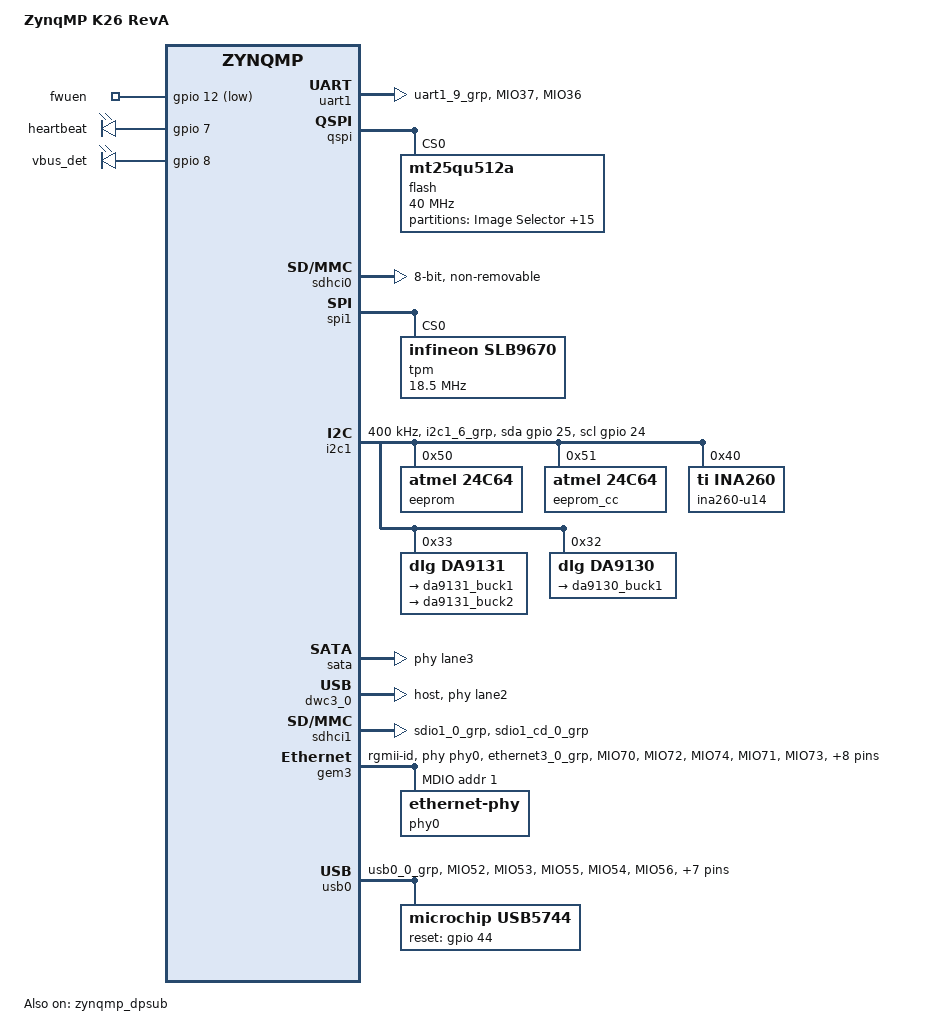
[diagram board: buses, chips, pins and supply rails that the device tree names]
// SPDX-License-Identifier: GPL-2.0
/*
 * dts file for Xilinx ZynqMP K26 revA
 *
 * (C) Copyright 2020, Xilinx, Inc.
 *
 * Michal Simek <michal.simek@xilinx.com>
 */

#include "include/dt-bindings/input/input.h"
#include "include/dt-bindings/gpio/gpio.h"
#include "include/dt-bindings/phy/phy.h"
#include "include/dt-bindings/pinctrl/pinctrl-zynqmp.h"

/ {
	model = "ZynqMP K26 RevA";
	compatible = "xlnx,zynqmp-sm-k26-revA", "xlnx,zynqmp-sm-k26", "xlnx,zynqmp";

	aliases {
		gpio0 = &gpio;
		i2c0 = &i2c0;
		i2c1 = &i2c1;
		mmc0 = &sdhci0;
		mmc1 = &sdhci1;
		rtc0 = &rtc;
		serial0 = &uart0;
		serial1 = &uart1;
		serial2 = &dcc;
		spi0 = &qspi;
		spi1 = &spi0;
		spi2 = &spi1;
		usb0 = &usb0;
		usb1 = &usb1;
		nvmem0 = &eeprom;
		nvmem1 = &eeprom_cc;
	};

	chosen {
		bootargs = "earlycon";
		stdout-path = "serial1:115200n8";
	};

	gpio-keys {
		compatible = "gpio-keys";
		autorepeat;
		fwuen {
			label = "fwuen";
			gpios = <&gpio 12 GPIO_ACTIVE_LOW>;
		};
	};

	leds {
		compatible = "gpio-leds";
		ds35 {
			label = "heartbeat";
			gpios = <&gpio 7 GPIO_ACTIVE_HIGH>;
			linux,default-trigger = "heartbeat";
		};

		ds36 {
			label = "vbus_det";
			gpios = <&gpio 8 GPIO_ACTIVE_HIGH>;
			default-state = "on";
		};
	};
};

&uart1 { /* MIO36/MIO37 */
	status = "okay";
	pinctrl-names = "default";
	pinctrl-0 = <&pinctrl_uart1_default>;
};

&qspi { /* MIO 0-5 - U143 */
	status = "okay";
	flash@0 { /* MT25QU512A */
		compatible = "mt25qu512a", "jedec,spi-nor"; /* 64MB */
		#address-cells = <1>;
		#size-cells = <1>;
		reg = <0>;
		spi-tx-bus-width = <1>;
		spi-rx-bus-width = <4>;
		spi-max-frequency = <40000000>; /* 40MHz */
		partition@0 {
			label = "Image Selector";
			reg = <0x0 0x80000>; /* 512KB */
		};
		partition@80000 {
			label = "Image Selector Golden";
			reg = <0x80000 0x80000>; /* 512KB */
			read-only;
			lock;
		};
		partition@100000 {
			label = "Persistent Register";
			reg = <0x100000 0x20000>; /* 128KB */
		};
		partition@120000 {
			label = "Persistent Register Backup";
			reg = <0x120000 0x20000>; /* 128KB */
		};
		partition@140000 {
			label = "Open_1";
			reg = <0x140000 0xC0000>; /* 768KB */
		};
		partition@200000 {
			label = "Image A (FSBL, PMU, ATF, U-Boot)";
			reg = <0x200000 0xD00000>; /* 3MB */
		};
		partition@f00000 {
			label = "ImgSel Image A Catch";
			reg = <0xF00000 0x80000>; /* 512KB */
		};
		partition@f80000 {
			label = "Image B (FSBL, PMU, ATF, U-Boot)";
			reg = <0xF80000 0xD00000>; /* 3MB */
		};
		partition@1c80000 {
			label = "ImgSel Image B Catch";
			reg = <0x1C80000 0x80000>; /* 512KB */
		};
		partition@1d00000 {
			label = "Open_2";
			reg = <0x1D00000 0x100000>; /* 1MB */
		};
		partition@1e00000 {
			label = "Recovery Image";
			reg = <0x1E00000 0x200000>; /* 2MB */
		};
		partition@2000000 {
			label = "Recovery Image Backup";
			reg = <0x2000000 0x200000>; /* 2MB */
			read-only;
			lock;
		};
		partition@2200000 {
			label = "U-Boot storage variables";
			reg = <0x2200000 0x20000>; /* 128KB */
		};
		partition@2220000 {
			label = "U-Boot storage variables backup";
			reg = <0x2220000 0x20000>; /* 128KB */
		};
		partition@2240000 {
			label = "SHA256";
			reg = <0x2240000 0x10000>; /* 256B but 64KB sector */
		};
		partition@2250000 {
			label = "User";
			reg = <0x2250000 0x1db0000>; /* 29.5 MB */

		};
	};
};

&sdhci0 { /* MIO13-23 - 16GB emmc MTFC16GAPALBH-IT - U133A*/
	status = "okay";
	non-removable;
	disable-wp;
	bus-width = <8>;
	xlnx,mio-bank = <0>;
};

&spi1 { /* MIO6, 9-11 */
	status = "okay";
	label = "TPM";
	num-cs = <1>;
	tpm@0 { /* slm9670 - U144 */
		compatible = "infineon,slb9670", "tcg,tpm_tis-spi";
		reg = <0>;
		spi-max-frequency = <18500000>;
	};
};

&i2c1 {
	status = "okay";
	clock-frequency = <400000>;
	pinctrl-names = "default", "gpio";
	pinctrl-0 = <&pinctrl_i2c1_default>;
	pinctrl-1 = <&pinctrl_i2c1_gpio>;
	scl-gpios = <&gpio 24 GPIO_ACTIVE_HIGH>;
	sda-gpios = <&gpio 25 GPIO_ACTIVE_HIGH>;

	eeprom: eeprom@50 { /* u46 */
		compatible = "atmel,24c64";
		reg = <0x50>;
		/* WP pin EE_WP_EN connected to slg7x644092@68 */
	};

	eeprom_cc: eeprom@51 { /* required by spec */
		compatible = "atmel,24c64";
		reg = <0x51>;
	};

	u14: ina260@40 { /* u14 */
		compatible = "ti,ina260";
		#io-channel-cells = <1>;
		label = "ina260-u14";
		reg = <0x40>;
	};
	/* u27 - 0xe0 - STDP4320 DP/HDMI splitter */

	/* da9062@60 - u170 - also at address 0x62 */
	/* da9131@33 - u167 */
	da9131: pmic@33 {
		compatible = "dlg,da9131";
		reg = <0x33>;
		regulators {
			da9131_buck1: buck1 {
				regulator-name = "da9131_buck1";
				regulator-boot-on;
			};
			da9131_buck2: buck2 {
				regulator-name = "da9131_buck2";
				regulator-boot-on;
			};
		};
	};

	/* da9130@32 - u166 */
	da9130: pmic@32 {
		compatible = "dlg,da9130";
		reg = <0x32>;
		regulators {
			da9130_buck1: buck1 {
				regulator-name = "da9130_buck1";
				regulator-boot-on;
			};
		};
	};
	/* slg7x644091@70 - u168 */
	/* slg7x644092@68 - u169 */
	/* Also connected via JA1C as C23/C24 */
};

&gpio {
	status = "okay";
	gpio-line-names = "QSPI_CLK", "QSPI_DQ1", "QSPI_DQ2", "QSPI_DQ3", "QSPI_DQ0", /* 0 - 4 */
			  "QSPI_CS_B", "SPI_CLK", "LED1", "LED2", "SPI_CS_B", /* 5 - 9 */
			  "SPI_MISO", "SPI_MOSI", "FWUEN", "EMMC_DAT0", "EMMC_DAT1", /* 10 - 14 */
			  "EMMC_DAT2", "EMMC_DAT3", "EMMC_DAT4", "EMMC_DAT5", "EMMC_DAT6", /* 15 - 19 */
			  "EMMC_DAT7", "EMMC_CMD", "EMMC_CLK", "EMMC_RST", "I2C1_SCL", /* 20 - 24 */
			  "I2C1_SDA", "", "", "", "", /* 25 - 29 */
			  "", "", "", "", "", /* 30 - 34 */
			  "", "", "", "", "", /* 35 - 39 */
			  "", "", "", "", "", /* 40 - 44 */
			  "", "", "", "", "", /* 45 - 49 */
			  "", "", "", "", "", /* 50 - 54 */
			  "", "", "", "", "", /* 55 - 59 */
			  "", "", "", "", "", /* 60 - 64 */
			  "", "", "", "", "", /* 65 - 69 */
			  "", "", "", "", "", /* 70 - 74 */
			  "", "", "", /* 75 - 77, MIO end and EMIO start */
			  "", "", /* 78 - 79 */
			  "", "", "", "", "", /* 80 - 84 */
			  "", "", "", "", "", /* 85 - 89 */
			  "", "", "", "", "", /* 90 - 94 */
			  "", "", "", "", "", /* 95 - 99 */
			  "", "", "", "", "", /* 100 - 104 */
			  "", "", "", "", "", /* 105 - 109 */
			  "", "", "", "", "", /* 110 - 114 */
			  "", "", "", "", "", /* 115 - 119 */
			  "", "", "", "", "", /* 120 - 124 */
			  "", "", "", "", "", /* 125 - 129 */
			  "", "", "", "", "", /* 130 - 134 */
			  "", "", "", "", "", /* 135 - 139 */
			  "", "", "", "", "", /* 140 - 144 */
			  "", "", "", "", "", /* 145 - 149 */
			  "", "", "", "", "", /* 150 - 154 */
			  "", "", "", "", "", /* 155 - 159 */
			  "", "", "", "", "", /* 160 - 164 */
			  "", "", "", "", "", /* 165 - 169 */
			  "", "", "", ""; /* 170 - 174 */
};

&sata {
	status = "okay";
	/* SATA OOB timing settings */
	ceva,p0-cominit-params = /bits/ 8 <0x18 0x40 0x18 0x28>;
	ceva,p0-comwake-params = /bits/ 8 <0x06 0x14 0x08 0x0E>;
	ceva,p0-burst-params = /bits/ 8 <0x13 0x08 0x4A 0x06>;
	ceva,p0-retry-params = /bits/ 16 <0x96A4 0x3FFC>;
	ceva,p1-cominit-params = /bits/ 8 <0x18 0x40 0x18 0x28>;
	ceva,p1-comwake-params = /bits/ 8 <0x06 0x14 0x08 0x0E>;
	ceva,p1-burst-params = /bits/ 8 <0x13 0x08 0x4A 0x06>;
	ceva,p1-retry-params = /bits/ 16 <0x96A4 0x3FFC>;
	phy-names = "sata-phy";
	phys = <&lane3 PHY_TYPE_SATA 1 2 125000000>;
};

&zynqmp_dpsub {
	status = "okay";
	phy-names = "dp-phy0", "dp-phy1";
	phys = <&lane1 PHY_TYPE_DP 0 0 27000000>, <&lane0 PHY_TYPE_DP 1 0 27000000>;
};

&dwc3_0 {
	status = "okay";
	dr_mode = "host";
	snps,usb3_lpm_capable;
	phy-names = "usb3-phy";
	phys = <&lane2 PHY_TYPE_USB3 0 1 26000000>;
	maximum-speed = "super-speed";	
};

&sdhci1 {
	status = "okay";
	pinctrl-names = "default";
	pinctrl-0 = <&pinctrl_sdhci1_default>;

	/*
	 * SD 3.0 requires level shifter and this property
	 * should be removed if the board has level shifter and
	 * need to work in UHS mode
	 */
	no-1-8-v;
	disable-wp;
	xlnx,mio-bank = <1>;
};

&pinctrl0 {
	status = "okay";
	pinctrl_uart1_default: uart1-default {
		mux {
			groups = "uart1_9_grp";
			function = "uart1";
		};

		conf {
			groups = "uart1_9_grp";
			slew-rate = <SLEW_RATE_SLOW>;
			io-standard = <IO_STANDARD_LVCMOS18>;
			drive-strength = <12>;
		};

		conf-rx {
			pins = "MIO37";
			bias-high-impedance;
		};

		conf-tx {
			pins = "MIO36";
			bias-disable;
		};
	};

	pinctrl_i2c1_default: i2c1-default {
		mux {
			groups = "i2c1_6_grp";
			function = "i2c1";
		};

		conf {
			groups = "i2c1_6_grp";
			bias-pull-up;
			slew-rate = <SLEW_RATE_SLOW>;
			io-standard = <IO_STANDARD_LVCMOS18>;
		};
	};

	pinctrl_i2c1_gpio: i2c1-gpio {
		mux {
			groups = "gpio0_24_grp", "gpio0_25_grp";
			function = "gpio0";
		};

		conf {
			groups = "gpio0_24_grp", "gpio0_25_grp";
			slew-rate = <SLEW_RATE_SLOW>;
			io-standard = <IO_STANDARD_LVCMOS18>;
		};
	};

	pinctrl_gem3_default: gem3-default {
		mux {
			function = "ethernet3";
			groups = "ethernet3_0_grp";
		};

		conf {
			groups = "ethernet3_0_grp";
			slew-rate = <SLEW_RATE_SLOW>;
			io-standard = <IO_STANDARD_LVCMOS18>;
		};

		conf-rx {
			pins = "MIO70", "MIO72", "MIO74";
			bias-high-impedance;
			low-power-disable;
		};

		conf-bootstrap {
			pins = "MIO71", "MIO73", "MIO75";
			bias-disable;
			low-power-disable;
		};

		conf-tx {
			pins = "MIO64", "MIO65", "MIO66",
			       "MIO67", "MIO68", "MIO69";
			bias-disable;
			low-power-enable;
		};

		mux-mdio {
			function = "mdio3";
			groups = "mdio3_0_grp";
		};

		conf-mdio {
			groups = "mdio3_0_grp";
			slew-rate = <SLEW_RATE_SLOW>;
			io-standard = <IO_STANDARD_LVCMOS18>;
			bias-disable;
		};
	};

	pinctrl_usb0_default: usb0-default {
		mux {
			groups = "usb0_0_grp";
			function = "usb0";
		};

		conf {
			groups = "usb0_0_grp";
			slew-rate = <SLEW_RATE_SLOW>;
			io-standard = <IO_STANDARD_LVCMOS18>;
		};

		conf-rx {
			pins = "MIO52", "MIO53", "MIO55";
			bias-high-impedance;
		};

		conf-tx {
			pins = "MIO54", "MIO56", "MIO57", "MIO58", "MIO59",
				"MIO60", "MIO61", "MIO62", "MIO63";
				bias-disable;
		};
	};

	pinctrl_sdhci1_default: sdhci1-default {
		mux {
			groups = "sdio1_0_grp";
			function = "sdio1";
		};

		conf {
			groups = "sdio1_0_grp";
			slew-rate = <SLEW_RATE_SLOW>;
			io-standard = <IO_STANDARD_LVCMOS18>;
			bias-disable;
		};

		mux-cd {
			groups = "sdio1_cd_0_grp";
			function = "sdio1_cd";
		};

		conf-cd {
			groups = "sdio1_cd_0_grp";
			bias-high-impedance;
			bias-pull-up;
			slew-rate = <SLEW_RATE_SLOW>;
			io-standard = <IO_STANDARD_LVCMOS18>;
		};
	};
};

&gem3 {
	status = "okay";
	phy-handle = <&phy0>;
	phy-mode = "rgmii-id";
	pinctrl-names = "default";
	pinctrl-0 = <&pinctrl_gem3_default>;

	mdio: mdio {
		#address-cells = <1>;
		#size-cells = <0>;
		reset-gpios = <&gpio 38 GPIO_ACTIVE_LOW>;
		reset-delay-us = <2>;

		phy0: ethernet-phy@1 {
			#phy-cells = <1>;
			reg = <1>;
			ti,rx-internal-delay = <0x8>;
			ti,tx-internal-delay = <0x8>;
			ti,fifo-depth = <0x01>;
			ti,dp83867-rxctrl-strap-quirk;
		};
	};
};

&usb0 {
	pinctrl-names = "default";
	pinctrl-0 = <&pinctrl_usb0_default>;
	usb5744 {
		compatible = "microchip,usb5744";
		reset-gpios = <&gpio 44 GPIO_ACTIVE_HIGH>;
	};
};
